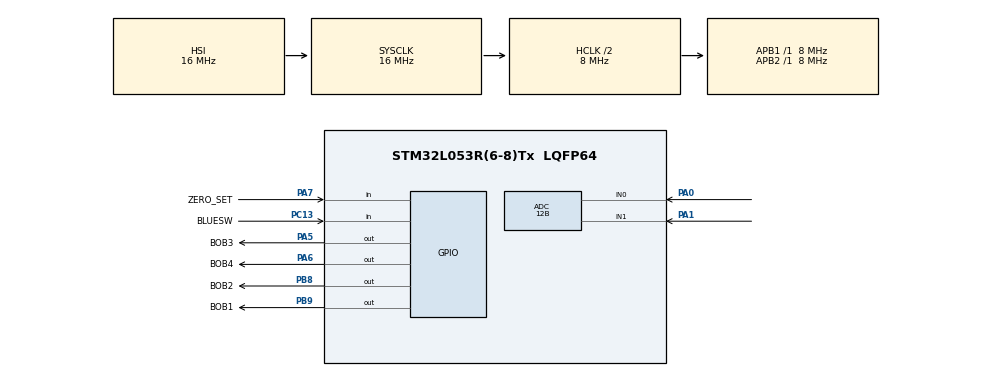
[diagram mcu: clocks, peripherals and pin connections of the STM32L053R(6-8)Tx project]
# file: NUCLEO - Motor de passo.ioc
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ADC.ContinuousConvMode=ENABLE
ADC.Resolution=ADC_RESOLUTION_12B
ADC.SamplingTime=ADC_SAMPLETIME_160CYCLES_5
Mcu.Family=STM32L0
Mcu.Name=STM32L053R(6-8)Tx
Mcu.Package=LQFP64
NVIC.ADC1_COMP_IRQn=true\:0\:0\:false\:false\:true\:true\:true\:true
NVIC.TIM6_DAC_IRQn=true\:0\:0\:false\:false\:true\:true\:true\:true
PA0.Mode=IN0
PA0.Signal=ADC_IN0
PA1.Mode=IN1
PA1.Signal=ADC_IN1
PA5.GPIO_Label=BOB3
PA5.Signal=GPIO_Output
PA6.GPIO_Label=BOB4
PA6.Signal=GPIO_Output
PA7.GPIO_Label=ZERO_SET
PA7.GPIO_PuPd=GPIO_PULLUP
PA7.Signal=GPIO_Input
PB8.GPIO_Label=BOB2
PB8.Signal=GPIO_Output
PB9.GPIO_Label=BOB1
PB9.Signal=GPIO_Output
PC13.GPIO_Label=BLUESW
PC13.GPIO_PuPd=GPIO_PULLUP
PC13.Signal=GPIO_Input
ProjectManager.HeapSize=0x200
ProjectManager.StackSize=0x400
ProjectManager.TargetToolchain=STM32CubeIDE
RCC.AHBCLKDivider=RCC_SYSCLK_DIV2
RCC.AHBFreq_Value=8000000
RCC.APB1Freq_Value=8000000
RCC.APB1TimFreq_Value=8000000
RCC.APB2Freq_Value=8000000
RCC.APB2TimFreq_Value=8000000
RCC.HCLKFreq_Value=8000000
RCC.HSE_VALUE=8000000
RCC.HSI16_VALUE=16000000
RCC.HSI48_VALUE=48000000
RCC.HSI_VALUE=16000000
RCC.LSE_VALUE=32768
RCC.MSI_VALUE=2097000
RCC.SYSCLKFreq_VALUE=16000000
RCC.SYSCLKSource=RCC_SYSCLKSOURCE_HSI
RCC.VCOOutputFreq_Value=48000000
TIM6.Prescaler=8-1
VP_TIM6_VS_ClockSourceINT.Mode=Enable_Timer
board=NUCLEO-L053R8

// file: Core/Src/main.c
/* USER CODE BEGIN Header */
/**
  ******************************************************************************
  * @file           : main.c
  * @brief          : Main program body
  ******************************************************************************
  * @attention
  *
  * Copyright (c) 2025 STMicroelectronics.
  * All rights reserved.
  *
  * This software is licensed under terms that can be found in the LICENSE file
  * in the root directory of this software component.
  * If no LICENSE file comes with this software, it is provided AS-IS.
  *
  ******************************************************************************
  */
/* USER CODE END Header */
#include "main.h"

/* USER CODE BEGIN Includes */
#include "stdlib.h"
#include "math.h"
/* USER CODE END Includes */

/* USER CODE BEGIN PTD */
typedef enum{
	CLOCKWISE = 0x00,
	COUNTERCLOCKWISE = 0x01,
	STOPED
}StepMotor_Typedef;

typedef enum{
	DEC_TO_BCD = 0x00,
	BCD_TO_DEC = 0x01
}ConverterType_Typedef;
/* USER CODE END PTD */

/* USER CODE BEGIN PD */
#define MAX_STEPS (513)
#define MAX_ANG (360)
#define FLASH_ADRS (uint32_t *)(0x0800FF80)
/* USER CODE END PD */

ADC_HandleTypeDef hadc;

TIM_HandleTypeDef htim6;

/* USER CODE BEGIN PV */
float targ_ang, count;
uint16_t ang_atual;
StepMotor_Typedef direction;
FLASH_EraseInitTypeDef clearMem;
uint16_t adc_value[2];
uint8_t zero_set;

uint32_t atual_time, bref_time;
float x, y;
float angDeg;
/* USER CODE END PV */

void SystemClock_Config(void);
static void MX_GPIO_Init(void);
static void MX_TIM6_Init(void);
static void MX_ADC_Init(void);
/* USER CODE BEGIN PFP */
void MOTOR_Control(void);
void AngInterpreter(void);
void SaveMem(uint16_t data);
void MOTOR_StepClockwise(void);
void MOTOR_StepCounterClockwise(void);
void Keyboard_check(GPIO_TypeDef *GPIOx, uint16_t GPIO_Pin);
uint32_t Converter(ConverterType_Typedef type_of_convertion, uint32_t number_to_convert);
/* USER CODE END PFP */

int main(void)
{

  /* MCU Configuration--------------------------------------------------------*/

  /* Reset of all peripherals, Initializes the Flash interface and the Systick. */
  HAL_Init();

  /* Configure the system clock */
  SystemClock_Config();

  /* Initialize all configured peripherals */
  MX_GPIO_Init();
  MX_TIM6_Init();
  MX_ADC_Init();
  /* USER CODE BEGIN 2 */

//  ang_atual = *FLASH_ADRS;
//  if(ang_atual >= 360) ang_atual = 0;
//  targ_ang = 0;
//  MOTOR_Control();
//  SaveMem(ang_atual);

//  uint8_t blueSwitch;

  /* USER CODE END 2 */

  /* Infinite loop */
  /* USER CODE BEGIN WHILE */
  while (1) {
	HAL_ADC_Start(&hadc);
	for(int i = 0; i < 2; i++){
		HAL_ADC_PollForConversion(&hadc, 100);
		if(i == 0) adc_value[0] = HAL_ADC_GetValue(&hadc);
		else adc_value[1] = HAL_ADC_GetValue(&hadc);
	}
	HAL_ADC_Stop(&hadc);
//	  blueSwitch = !(HAL_GPIO_ReadPin(BLUESW_GPIO_Port, BLUESW_Pin));
//	  AngInterpreter();

//	  if(blueSwitch){
//		  while(!(HAL_GPIO_ReadPin(BLUESW_GPIO_Port, BLUESW_Pin)));
//		  SaveMem(ang_atual);
//	  }
//
//	  targ_ang = angDeg;
//	  MOTOR_Control();
    /* USER CODE END WHILE */

  }
}

void SystemClock_Config(void)
{
  RCC_OscInitTypeDef RCC_OscInitStruct = {0};
  RCC_ClkInitTypeDef RCC_ClkInitStruct = {0};

  /** Configure the main internal regulator output voltage
  */
  __HAL_PWR_VOLTAGESCALING_CONFIG(PWR_REGULATOR_VOLTAGE_SCALE1);

  /** Initializes the RCC Oscillators according to the specified parameters
  * in the RCC_OscInitTypeDef structure.
  */
  RCC_OscInitStruct.OscillatorType = RCC_OSCILLATORTYPE_HSI;
  RCC_OscInitStruct.HSIState = RCC_HSI_ON;
  RCC_OscInitStruct.HSICalibrationValue = RCC_HSICALIBRATION_DEFAULT;
  RCC_OscInitStruct.PLL.PLLState = RCC_PLL_NONE;
  if (HAL_RCC_OscConfig(&RCC_OscInitStruct) != HAL_OK)
  {
    Error_Handler();
  }

  /** Initializes the CPU, AHB and APB buses clocks
  */
  RCC_ClkInitStruct.ClockType = RCC_CLOCKTYPE_HCLK|RCC_CLOCKTYPE_SYSCLK
                              |RCC_CLOCKTYPE_PCLK1|RCC_CLOCKTYPE_PCLK2;
  RCC_ClkInitStruct.SYSCLKSource = RCC_SYSCLKSOURCE_HSI;
  RCC_ClkInitStruct.AHBCLKDivider = RCC_SYSCLK_DIV2;
  RCC_ClkInitStruct.APB1CLKDivider = RCC_HCLK_DIV1;
  RCC_ClkInitStruct.APB2CLKDivider = RCC_HCLK_DIV1;

  if (HAL_RCC_ClockConfig(&RCC_ClkInitStruct, FLASH_LATENCY_0) != HAL_OK)
  {
    Error_Handler();
  }
}

static void MX_ADC_Init(void)
{

  ADC_ChannelConfTypeDef sConfig = {0};

  /** Configure the global features of the ADC (Clock, Resolution, Data Alignment and number of conversion)
  */
  hadc.Instance = ADC1;
  hadc.Init.OversamplingMode = DISABLE;
  hadc.Init.ClockPrescaler = ADC_CLOCK_SYNC_PCLK_DIV2;
  hadc.Init.Resolution = ADC_RESOLUTION_12B;
  hadc.Init.SamplingTime = ADC_SAMPLETIME_160CYCLES_5;
  hadc.Init.ScanConvMode = ADC_SCAN_DIRECTION_FORWARD;
  hadc.Init.DataAlign = ADC_DATAALIGN_RIGHT;
  hadc.Init.ContinuousConvMode = ENABLE;
  hadc.Init.DiscontinuousConvMode = DISABLE;
  hadc.Init.ExternalTrigConvEdge = ADC_EXTERNALTRIGCONVEDGE_NONE;
  hadc.Init.ExternalTrigConv = ADC_SOFTWARE_START;
  hadc.Init.DMAContinuousRequests = DISABLE;
  hadc.Init.EOCSelection = ADC_EOC_SINGLE_CONV;
  hadc.Init.Overrun = ADC_OVR_DATA_PRESERVED;
  hadc.Init.LowPowerAutoWait = DISABLE;
  hadc.Init.LowPowerFrequencyMode = DISABLE;
  hadc.Init.LowPowerAutoPowerOff = DISABLE;
  if (HAL_ADC_Init(&hadc) != HAL_OK)
  {
    Error_Handler();
  }

  /** Configure for the selected ADC regular channel to be converted.
  */
  sConfig.Channel = ADC_CHANNEL_0;
  sConfig.Rank = ADC_RANK_CHANNEL_NUMBER;
  if (HAL_ADC_ConfigChannel(&hadc, &sConfig) != HAL_OK)
  {
    Error_Handler();
  }

  /** Configure for the selected ADC regular channel to be converted.
  */
  sConfig.Channel = ADC_CHANNEL_1;
  if (HAL_ADC_ConfigChannel(&hadc, &sConfig) != HAL_OK)
  {
    Error_Handler();
  }

}

static void MX_TIM6_Init(void)
{

  TIM_MasterConfigTypeDef sMasterConfig = {0};

  htim6.Instance = TIM6;
  htim6.Init.Prescaler = 8-1;
  htim6.Init.CounterMode = TIM_COUNTERMODE_UP;
  htim6.Init.Period = 65535;
  htim6.Init.AutoReloadPreload = TIM_AUTORELOAD_PRELOAD_DISABLE;
  if (HAL_TIM_Base_Init(&htim6) != HAL_OK)
  {
    Error_Handler();
  }
  sMasterConfig.MasterOutputTrigger = TIM_TRGO_RESET;
  sMasterConfig.MasterSlaveMode = TIM_MASTERSLAVEMODE_DISABLE;
  if (HAL_TIMEx_MasterConfigSynchronization(&htim6, &sMasterConfig) != HAL_OK)
  {
    Error_Handler();
  }

}

static void MX_GPIO_Init(void)
{
  GPIO_InitTypeDef GPIO_InitStruct = {0};

  /* GPIO Ports Clock Enable */
  __HAL_RCC_GPIOC_CLK_ENABLE();
  __HAL_RCC_GPIOA_CLK_ENABLE();
  __HAL_RCC_GPIOB_CLK_ENABLE();

  /*Configure GPIO pin Output Level */
  HAL_GPIO_WritePin(GPIOA, BOB3_Pin|BOB4_Pin, GPIO_PIN_RESET);

  /*Configure GPIO pin Output Level */
  HAL_GPIO_WritePin(GPIOB, BOB2_Pin|BOB1_Pin, GPIO_PIN_RESET);

  /*Configure GPIO pin : BLUESW_Pin */
  GPIO_InitStruct.Pin = BLUESW_Pin;
  GPIO_InitStruct.Mode = GPIO_MODE_INPUT;
  GPIO_InitStruct.Pull = GPIO_PULLUP;
  HAL_GPIO_Init(BLUESW_GPIO_Port, &GPIO_InitStruct);

  /*Configure GPIO pins : BOB3_Pin BOB4_Pin */
  GPIO_InitStruct.Pin = BOB3_Pin|BOB4_Pin;
  GPIO_InitStruct.Mode = GPIO_MODE_OUTPUT_PP;
  GPIO_InitStruct.Pull = GPIO_NOPULL;
  GPIO_InitStruct.Speed = GPIO_SPEED_FREQ_LOW;
  HAL_GPIO_Init(GPIOA, &GPIO_InitStruct);

  /*Configure GPIO pin : ZERO_SET_Pin */
  GPIO_InitStruct.Pin = ZERO_SET_Pin;
  GPIO_InitStruct.Mode = GPIO_MODE_INPUT;
  GPIO_InitStruct.Pull = GPIO_PULLUP;
  HAL_GPIO_Init(ZERO_SET_GPIO_Port, &GPIO_InitStruct);

  /*Configure GPIO pins : BOB2_Pin BOB1_Pin */
  GPIO_InitStruct.Pin = BOB2_Pin|BOB1_Pin;
  GPIO_InitStruct.Mode = GPIO_MODE_OUTPUT_PP;
  GPIO_InitStruct.Pull = GPIO_NOPULL;
  GPIO_InitStruct.Speed = GPIO_SPEED_FREQ_LOW;
  HAL_GPIO_Init(GPIOB, &GPIO_InitStruct);

}

/* USER CODE BEGIN 4 */

void MOTOR_Control(void){
	int step, diff;

	diff = (int)(targ_ang - ang_atual + 540) % 360 - 180;
	step = abs(diff) * MAX_STEPS / MAX_ANG;

	if(diff == 0) direction = STOPED;
	else if(diff > 0) direction = CLOCKWISE;
	else direction = COUNTERCLOCKWISE;

	for(int i = 0; i < step; ++i){
		if(direction == CLOCKWISE) MOTOR_StepClockwise();
		else if (direction == COUNTERCLOCKWISE) MOTOR_StepCounterClockwise();
		else break;
	}

	ang_atual = (int)((ang_atual + diff + 360) % 360);

}
void MOTOR_StepClockwise(void){
	HAL_GPIO_WritePin(BOB1_GPIO_Port, BOB1_Pin, GPIO_PIN_SET);
	HAL_GPIO_WritePin(BOB2_GPIO_Port, BOB2_Pin, GPIO_PIN_RESET);
	HAL_GPIO_WritePin(BOB3_GPIO_Port, BOB3_Pin, GPIO_PIN_RESET);
	HAL_GPIO_WritePin(BOB4_GPIO_Port, BOB4_Pin, GPIO_PIN_RESET);
	HAL_Delay(1);

	HAL_GPIO_WritePin(BOB1_GPIO_Port, BOB1_Pin, GPIO_PIN_RESET);
	HAL_GPIO_WritePin(BOB2_GPIO_Port, BOB2_Pin, GPIO_PIN_SET);
	HAL_GPIO_WritePin(BOB3_GPIO_Port, BOB3_Pin, GPIO_PIN_RESET);
	HAL_GPIO_WritePin(BOB4_GPIO_Port, BOB4_Pin, GPIO_PIN_RESET);
	HAL_Delay(1);

	HAL_GPIO_WritePin(BOB1_GPIO_Port, BOB1_Pin, GPIO_PIN_RESET);
	HAL_GPIO_WritePin(BOB2_GPIO_Port, BOB2_Pin, GPIO_PIN_RESET);
	HAL_GPIO_WritePin(BOB3_GPIO_Port, BOB3_Pin, GPIO_PIN_SET);
	HAL_GPIO_WritePin(BOB4_GPIO_Port, BOB4_Pin, GPIO_PIN_RESET);
	HAL_Delay(1);

	HAL_GPIO_WritePin(BOB1_GPIO_Port, BOB1_Pin, GPIO_PIN_RESET);
	HAL_GPIO_WritePin(BOB2_GPIO_Port, BOB2_Pin, GPIO_PIN_RESET);
	HAL_GPIO_WritePin(BOB3_GPIO_Port, BOB3_Pin, GPIO_PIN_RESET);
	HAL_GPIO_WritePin(BOB4_GPIO_Port, BOB4_Pin, GPIO_PIN_SET);
	HAL_Delay(1);

	HAL_GPIO_WritePin(BOB1_GPIO_Port, BOB1_Pin, GPIO_PIN_RESET);
	HAL_GPIO_WritePin(BOB2_GPIO_Port, BOB2_Pin, GPIO_PIN_RESET);
	HAL_GPIO_WritePin(BOB3_GPIO_Port, BOB3_Pin, GPIO_PIN_RESET);
	HAL_GPIO_WritePin(BOB4_GPIO_Port, BOB4_Pin, GPIO_PIN_RESET);
	HAL_Delay(1);
}
void MOTOR_StepCounterClockwise(void){
	HAL_GPIO_WritePin(BOB1_GPIO_Port, BOB1_Pin, GPIO_PIN_RESET);
	HAL_GPIO_WritePin(BOB2_GPIO_Port, BOB2_Pin, GPIO_PIN_RESET);
	HAL_GPIO_WritePin(BOB3_GPIO_Port, BOB3_Pin, GPIO_PIN_RESET);
	HAL_GPIO_WritePin(BOB4_GPIO_Port, BOB4_Pin, GPIO_PIN_SET);
	HAL_Delay(1);

	HAL_GPIO_WritePin(BOB1_GPIO_Port, BOB1_Pin, GPIO_PIN_RESET);
	HAL_GPIO_WritePin(BOB2_GPIO_Port, BOB2_Pin, GPIO_PIN_RESET);
	HAL_GPIO_WritePin(BOB3_GPIO_Port, BOB3_Pin, GPIO_PIN_SET);
	HAL_GPIO_WritePin(BOB4_GPIO_Port, BOB4_Pin, GPIO_PIN_RESET);
	HAL_Delay(1);

	HAL_GPIO_WritePin(BOB1_GPIO_Port, BOB1_Pin, GPIO_PIN_RESET);
	HAL_GPIO_WritePin(BOB2_GPIO_Port, BOB2_Pin, GPIO_PIN_SET);
	HAL_GPIO_WritePin(BOB3_GPIO_Port, BOB3_Pin, GPIO_PIN_RESET);
	HAL_GPIO_WritePin(BOB4_GPIO_Port, BOB4_Pin, GPIO_PIN_RESET);
	HAL_Delay(1);

	HAL_GPIO_WritePin(BOB1_GPIO_Port, BOB1_Pin, GPIO_PIN_SET);
	HAL_GPIO_WritePin(BOB2_GPIO_Port, BOB2_Pin, GPIO_PIN_RESET);
	HAL_GPIO_WritePin(BOB3_GPIO_Port, BOB3_Pin, GPIO_PIN_RESET);
	HAL_GPIO_WritePin(BOB4_GPIO_Port, BOB4_Pin, GPIO_PIN_RESET);
	HAL_Delay(1);

	HAL_GPIO_WritePin(BOB1_GPIO_Port, BOB1_Pin, GPIO_PIN_RESET);
	HAL_GPIO_WritePin(BOB2_GPIO_Port, BOB2_Pin, GPIO_PIN_RESET);
	HAL_GPIO_WritePin(BOB3_GPIO_Port, BOB3_Pin, GPIO_PIN_RESET);
	HAL_GPIO_WritePin(BOB4_GPIO_Port, BOB4_Pin, GPIO_PIN_RESET);
	HAL_Delay(1);
}

void AngInterpreter(void){
	uint16_t ref = 4095;

	if(adc_value[0] > 3000 && adc_value[0] < 3400) y = y;
	else if (adc_value[1] > 3000 && adc_value[1] < 3200) x = x;
	else if (adc_value[0] > 3400) y = (adc_value[0] * 5 ) / ref;
	else if (adc_value[0] < 3000) y = -(adc_value[0] * 5 ) / ref;
	else if (adc_value[1] > 3200) x = (adc_value[1] * 5 ) / ref;
	else if (adc_value[1] < 3000) x = (adc_value[1] * 5 ) / ref;

    float angRad = atan2(y, x);
	angDeg = angRad * (180.0 / M_PI);
	if (angDeg < 0) angDeg += 360.0;
}

uint32_t Converter(ConverterType_Typedef type_of_convertion, uint32_t number_to_convert){
	switch(type_of_convertion){
		case BCD_TO_DEC:
			return (number_to_convert / 16 * 10) + (number_to_convert % 16);
			break;

		case DEC_TO_BCD:
			return (number_to_convert / 10 * 16) + (number_to_convert % 10);
			break;
	}

	return 0;
}

void Keyboard_check(GPIO_TypeDef *GPIOx, uint16_t GPIO_Pin){
	zero_set = !(HAL_GPIO_ReadPin(GPIOx, GPIO_Pin));

	if(zero_set) {
		x = 0;
		y = 0;
	}

	HAL_ADC_Start(&hadc);
	for(int i = 0; i < 2; i++){
		HAL_ADC_PollForConversion(&hadc, 100);
		if(i == 0) adc_value[0] = HAL_ADC_GetValue(&hadc);
		else adc_value[1] = HAL_ADC_GetValue(&hadc);
	}
	HAL_ADC_Stop(&hadc);

}

void SaveMem(uint16_t data){
	uint32_t PagErr;

	HAL_FLASH_Unlock();
	HAL_FLASH_OB_Unlock();

	clearMem.TypeErase = FLASH_TYPEERASE_PAGES;
	clearMem.PageAddress = 0x0800FF80;
	clearMem.NbPages = 1;

	HAL_FLASHEx_Erase(&clearMem, &PagErr);

	HAL_FLASH_Program(FLASH_TYPEPROGRAMDATA_HALFWORD, 0x0800FF80, data);
	HAL_FLASH_OB_Lock();
	HAL_FLASH_Lock();
}

/* USER CODE END 4 */

void Error_Handler(void)
{
  __disable_irq();
  while (1)
  {
  }
}
